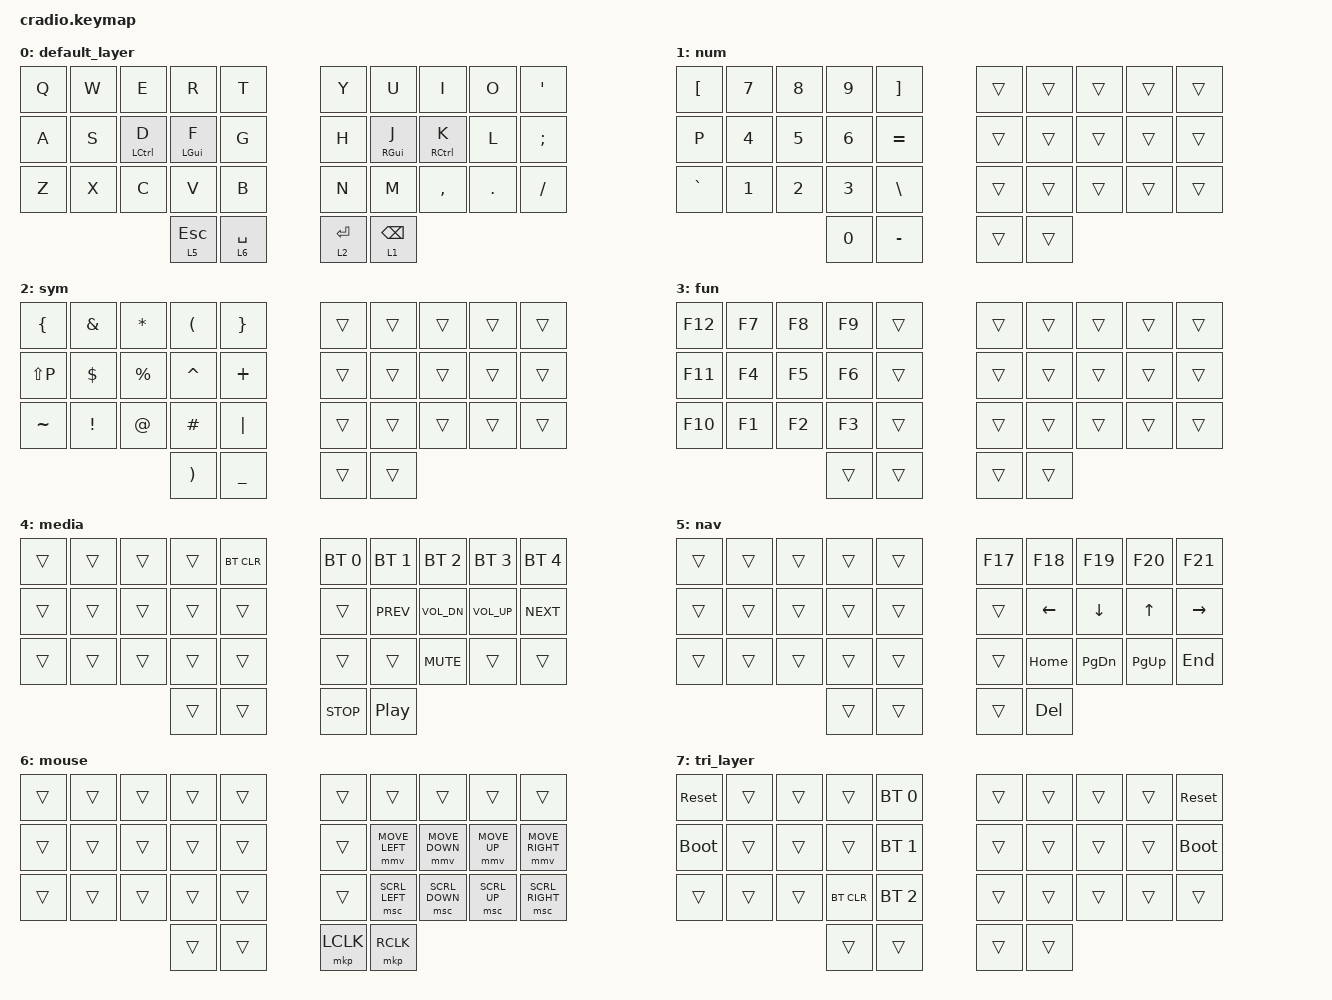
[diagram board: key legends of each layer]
// Copyright (c) 2022 The ZMK Contributors
// SPDX-License-Identifier: MIT

#include <behaviors.dtsi>
#include <dt-bindings/zmk/bt.h>
#include <dt-bindings/zmk/keys.h>
#include <dt-bindings/zmk/pointing.h>

&caps_word { continue-list = <UNDERSCORE BACKSPACE DELETE SEMICOLON>; };

/ {
    behaviors {
        ht: hold_tap {
            compatible = "zmk,behavior-hold-tap";
            #binding-cells = <2>;
            flavor = "tap-preferred";
            tapping-term-ms = <220>;
            quick-tap-ms = <150>;
            require-prior-idle-ms = <100>;
            bindings = <&kp>, <&kp>;
        };
    };

    conditional_layers {
        compatible = "zmk,conditional-layers";

        tri_layer {
            if-layers = <5 6 2 1>;
            then-layer = <7>;
        };
    };

    combos {
        compatible = "zmk,combos";

        tab2 {
            bindings = <&kp TAB>;
            key-positions = <2 3>;
        };

        globe {
            bindings = <&sk GLOBE>;
            key-positions = <21 22>;
        };

        media {
            bindings = <&sl 4>;
            key-positions = <30 31>;
        };

        fun {
            bindings = <&sl 3>;
            key-positions = <33 32>;
        };

        leftshift2 {
            bindings = <&sk LEFT_SHIFT>;
            key-positions = <13 23>;
        };

        rightleft2 {
            bindings = <&sk RIGHT_SHIFT>;
            key-positions = <16 26>;
        };

        comboF18 {
            bindings = <&kp F18>;
            key-positions = <6 16>;
        };

        comboF19 {
            bindings = <&kp F19>;
            key-positions = <7 17>;
        };

        comboF20 {
            bindings = <&kp F20>;
            key-positions = <8 18>;
        };

        left-ALT {
            bindings = <&kp LEFT_ALT>;
            key-positions = <11 21>;
        };

        right-ALT {
            bindings = <&sk RIGHT_ALT>;
            key-positions = <18 28>;
        };
    };

    keymap {
        compatible = "zmk,keymap";

        default_layer {
            bindings = <
&kp Q  &kp W  &kp E        &kp R           &kp T          &kp Y        &kp U            &kp I        &kp O    &kp SINGLE_QUOTE
&kp A  &kp S  &ht LCTRL D  &ht LEFT_GUI F  &kp G          &kp H        &ht RGUI J       &ht RCTRL K  &kp L    &kp SEMI
&kp Z  &kp X  &kp C        &kp V           &kp B          &kp N        &kp M            &kp COMMA    &kp DOT  &kp FSLH
                           &lt 5 ESCAPE    &lt 6 SPACE    &lt 2 ENTER  &lt 1 BACKSPACE
            >;
        };

        num {
            bindings = <
&kp LEFT_BRACKET  &kp NUMBER_7  &kp NUMBER_8  &kp NUMBER_9  &kp RIGHT_BRACKET    &trans  &trans  &trans  &trans  &trans
&kp P             &kp NUMBER_4  &kp NUMBER_5  &kp NUMBER_6  &kp EQUAL            &trans  &trans  &trans  &trans  &trans
&kp GRAVE         &kp NUMBER_1  &kp NUMBER_2  &kp NUMBER_3  &kp BACKSLASH        &trans  &trans  &trans  &trans  &trans
                                              &kp NUMBER_0  &kp MINUS            &trans  &trans
            >;
        };

        sym {
            bindings = <
&kp LEFT_BRACE  &kp AMPERSAND    &kp ASTERISK  &kp LEFT_PARENTHESIS   &kp RIGHT_BRACE    &trans  &trans  &trans  &trans  &trans
&kp LS(P)       &kp DOLLAR       &kp PERCENT   &kp CARET              &kp PLUS           &trans  &trans  &trans  &trans  &trans
&kp TILDE       &kp EXCLAMATION  &kp AT        &kp HASH               &kp PIPE           &trans  &trans  &trans  &trans  &trans
                                               &kp RIGHT_PARENTHESIS  &kp UNDER          &trans  &trans
            >;
        };

        fun {
            bindings = <
&kp F12  &kp F7  &kp F8  &kp F9  &trans    &trans  &trans  &trans  &trans  &trans
&kp F11  &kp F4  &kp F5  &kp F6  &trans    &trans  &trans  &trans  &trans  &trans
&kp F10  &kp F1  &kp F2  &kp F3  &trans    &trans  &trans  &trans  &trans  &trans
                         &trans  &trans    &trans  &trans
            >;
        };

        media {
            bindings = <
&trans  &trans  &trans  &trans  &bt BT_CLR    &bt BT_SEL 0  &bt BT_SEL 1      &bt BT_SEL 2  &bt BT_SEL 3  &bt BT_SEL 4
&trans  &trans  &trans  &trans  &trans        &trans        &kp C_PREV        &kp C_VOL_DN  &kp C_VOL_UP  &kp C_NEXT
&trans  &trans  &trans  &trans  &trans        &trans        &trans            &kp C_MUTE    &trans        &trans
                        &trans  &trans        &kp C_STOP    &kp C_PLAY_PAUSE
            >;
        };

        nav {
            bindings = <
&trans  &trans  &trans  &trans  &trans    &kp F17  &kp F18     &kp F19    &kp F20    &kp F21
&trans  &trans  &trans  &trans  &trans    &trans   &kp LEFT    &kp DOWN   &kp UP     &kp RIGHT
&trans  &trans  &trans  &trans  &trans    &trans   &kp HOME    &kp PG_DN  &kp PG_UP  &kp END
                        &trans  &trans    &trans   &kp DELETE
            >;
        };

        mouse {
            bindings = <
&trans  &trans  &trans  &trans  &trans    &trans     &trans          &trans          &trans        &trans
&trans  &trans  &trans  &trans  &trans    &trans     &mmv MOVE_LEFT  &mmv MOVE_DOWN  &mmv MOVE_UP  &mmv MOVE_RIGHT
&trans  &trans  &trans  &trans  &trans    &trans     &msc SCRL_LEFT  &msc SCRL_DOWN  &msc SCRL_UP  &msc SCRL_RIGHT
                        &trans  &trans    &mkp LCLK  &mkp RCLK
            >;
        };

        tri_layer {
            bindings = <
&sys_reset   &trans  &trans  &trans      &bt BT_SEL 0    &trans  &trans  &trans  &trans  &sys_reset
&bootloader  &trans  &trans  &trans      &bt BT_SEL 1    &trans  &trans  &trans  &trans  &bootloader
&trans       &trans  &trans  &bt BT_CLR  &bt BT_SEL 2    &trans  &trans  &trans  &trans  &trans
                             &trans      &trans          &trans  &trans
            >;
        };
    };
};
